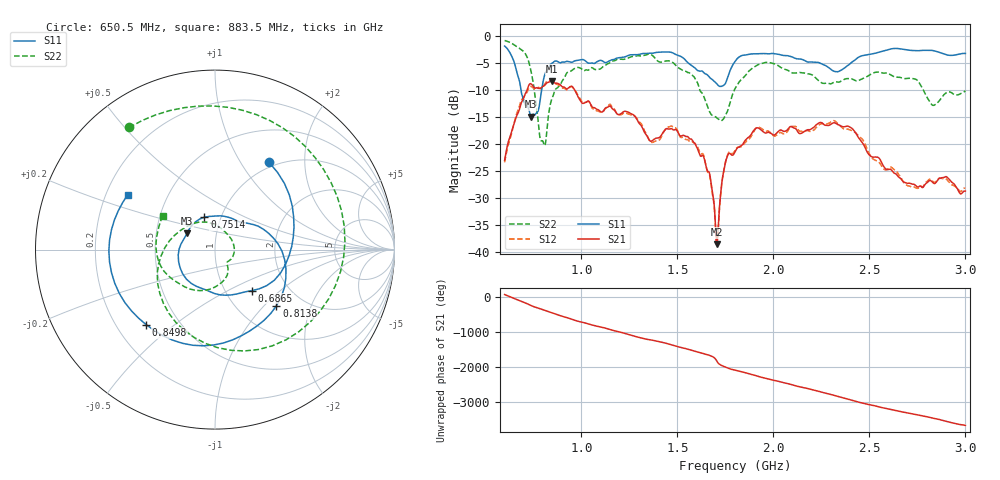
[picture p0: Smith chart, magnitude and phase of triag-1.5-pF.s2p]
#  HZ  S  RI  R  50.00
! Rohde & Schwarz ZVB8 2Ports - Version 2.81 - 1145.1010k08 SN: 100113
! Date: 2016-03-12 01:35:22
! Measurements: S11 S21 S12 S22
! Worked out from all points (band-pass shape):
!   1000 points, 600 MHz to 3 GHz, reference 50 ohm
!   highest |S21| = -8.24 dB at 847.4 MHz (marker M1); lowest = -38.5 dB at 1.705 GHz (marker M2)
!   |S21| within 3 dB of the highest: 701.1 MHz to 983.4 MHz (282.3 MHz wide, 33.5 % of centre)
!   lowest |S11| = -14.9 dB at 739.3 MHz (marker M3), VSWR 1.44, Z = 36 + j6.79 ohm
!   |S11| at or under -10 dB: 685.5 MHz to 792.8 MHz (107.3 MHz wide, 14.5 % of centre)
!   |S22| runs from -20.2 to -0.8 dB; largest |S21 - S12| = 0.026
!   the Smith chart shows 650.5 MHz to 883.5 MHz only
!   S11 on the Smith chart (normalised r, x): 650.5 MHz: 0.92, +1.34; 686.5 MHz: 1.33, -0.67; 751.4 MHz: 0.83, +0.31; 813.8 MHz: 1.47, -1.18; 849.8 MHz: 0.32, -0.40; 883.5 MHz: 0.29, +0.27
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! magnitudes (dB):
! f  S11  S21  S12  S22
! 600 MHz  -1.8  -23.0  -23.3  -0.8
! 650.5 MHz  -4.8  -16.0  -15.9  -1.6
! 686.5 MHz  -10.2  -12.3  -11.9  -2.5
! 739.3 MHz  -14.9  -8.9  -9.3  -6.7
! 751.4 MHz  -14.4  -9.4  -9.6  -9.2
! 787.4 MHz  -11.2  -9.6  -9.7  -19.3
! 813.8 MHz  -6.7  -8.9  -8.6  -19.6
! 847.4 MHz  -5.0  -8.2  -8.2  -11.5
! 849.8 MHz  -4.9  -8.3  -8.2  -11.3
! 883.5 MHz  -4.8  -8.8  -9.1  -9.2
! 1.001 GHz  -4.3  -12.3  -12.0  -6.0
! 1.4 GHz  -2.9  -18.8  -19.3  -4.6
! 1.599 GHz  -6.2  -20.4  -20.2  -8.3
! 1.667 GHz  -7.6  -25.3  -25.5  -13.9
! 1.705 GHz  -8.8  -38.5  -38.9  -15.1
! 1.751 GHz  -8.7  -23.3  -23.2  -14.6
! 1.801 GHz  -4.6  -21.3  -21.1  -9.6
! 2.2 GHz  -4.8  -17.1  -17.5  -7.1
! 2.397 GHz  -5.1  -16.8  -17.3  -7.8
! 2.601 GHz  -2.4  -24.7  -24.4  -6.9
! 2.832 GHz  -2.6  -27.1  -26.9  -12.8
! 3 GHz  -3.2  -28.6  -28.2  -10.1
